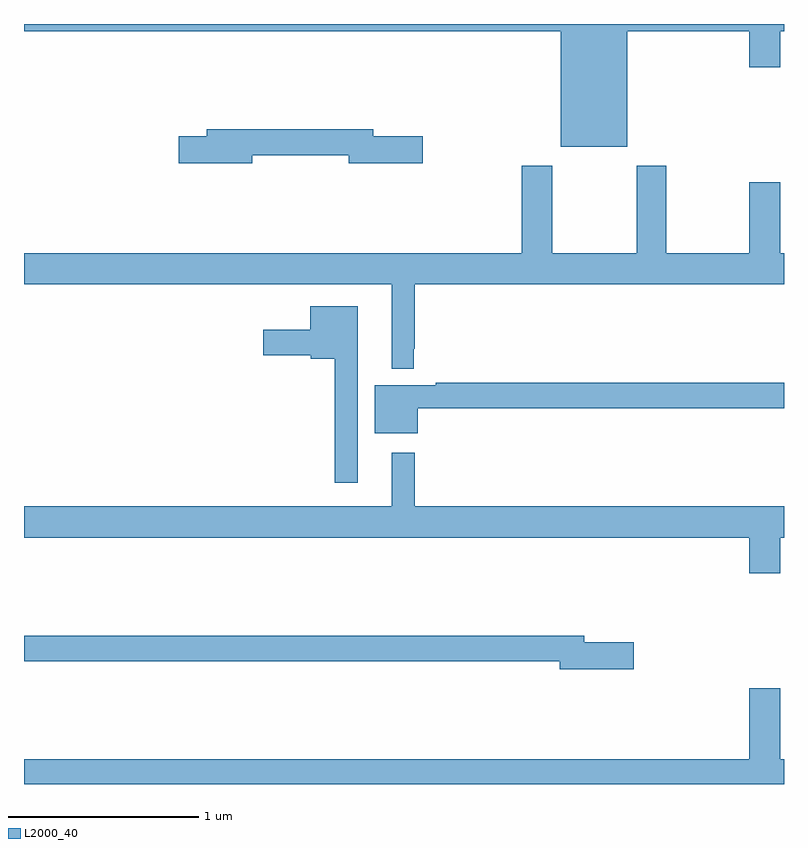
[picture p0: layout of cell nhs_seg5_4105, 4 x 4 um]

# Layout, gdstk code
import gdstk
lib = gdstk.Library(unit=1e-6, precision=1e-09)
def P(c, l, *ps):  # polygons
    for p in ps: c.add(gdstk.Polygon(p, *l))
L2000_40 = (2000, 40)

nhs_seg5_4105 = lib.new_cell('nhs_seg5_4105')
P(nhs_seg5_4105, L2000_40, [(356.176,856.76),(356.816,856.76),(356.816,856.572),(356.98,856.572),(356.98,856.76),(357,856.76),(357,856.799),(353,856.799),(353,856.76),(355.826,856.76),(355.826,856.154),(356.176,856.154)],
  [(354.202,856.108),(354.71,856.108),(354.71,856.066),(355.099,856.066),(355.099,856.208),(354.838,856.208),(354.838,856.244),(353.963,856.244),(353.963,856.208),(353.814,856.208),(353.814,856.066),(354.202,856.066)],
  [(355.05,855.091),(355.057,855.091),(355.057,855.428),(357,855.428),(357,855.592),(356.98,855.592),(356.98,855.967),(356.816,855.967),(356.816,855.592),(356.379,855.592),(356.379,856.054),(356.224,856.054),(356.224,855.592),(355.779,855.592),(355.779,856.054),(355.619,856.054),(355.619,855.592),(353,855.592),(353,855.428),(354.935,855.428),(354.935,854.984),(355.05,854.984)],
  [(354.757,855.313),(354.506,855.313),(354.506,855.19),(354.258,855.19),(354.258,855.056),(354.51,855.056),(354.51,855.038),(354.636,855.038),(354.636,854.385),(354.757,854.385)],
  [(355.072,854.776),(357,854.776),(357,854.912),(355.168,854.912),(355.168,854.899),(354.845,854.899),(354.845,854.645),(355.072,854.645)],
  [(356.98,854.096),(357,854.096),(357,854.26),(355.057,854.26),(355.057,854.542),(354.935,854.542),(354.935,854.26),(353,854.26),(353,854.096),(356.816,854.096),(356.816,853.908),(356.98,853.908)],
  [(356.209,853.544),(355.948,853.544),(355.948,853.58),(353,853.58),(353,853.444),(355.82,853.444),(355.82,853.402),(356.209,853.402)],
  [(357,852.928),(356.98,852.928),(356.98,853.303),(356.816,853.303),(356.816,852.928),(353,852.928),(353,852.799),(357,852.799)])

lib.write_gds('nhs_seg5_4105.gds')
